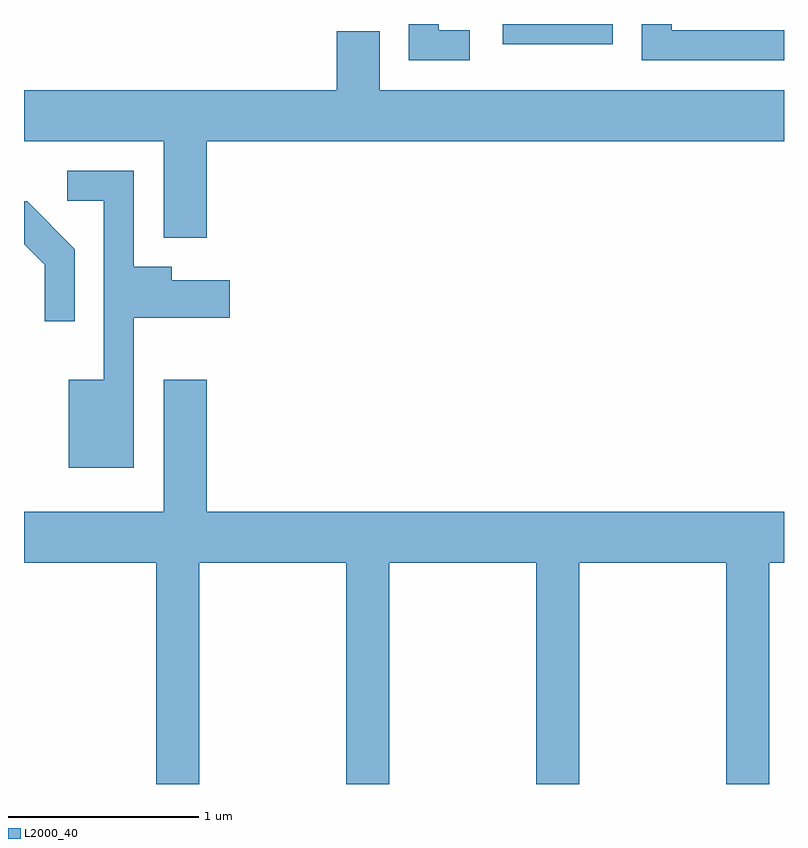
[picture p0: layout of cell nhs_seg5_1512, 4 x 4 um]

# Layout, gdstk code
import gdstk
lib = gdstk.Library(unit=1e-6, precision=1e-09)
def R(c, l, rs):  # rectangles x0, y0, x1, y1
    for r in rs: c.add(gdstk.rectangle(r[:2], r[2:], *l))
def P(c, l, *ps):  # polygons
    for p in ps: c.add(gdstk.Polygon(p, *l))
L2000_40 = (2000, 40)

nhs_seg5_1512 = lib.new_cell('nhs_seg5_1512')
R(nhs_seg5_1512, L2000_40, [(232.131,1463.966,232.709,1464.072)])
P(nhs_seg5_1512, L2000_40, [(233.611,1464.039),(233.019,1464.039),(233.019,1464.072),(232.861,1464.072),(232.861,1463.881),(233.611,1463.881)],
  [(231.958,1464.039),(231.794,1464.039),(231.794,1464.072),(231.636,1464.072),(231.636,1463.881),(231.958,1463.881)],
  [(230.574,1463.456),(233.611,1463.456),(233.611,1463.724),(231.484,1463.724),(231.484,1464.034),(231.256,1464.034),(231.256,1463.724),(229.611,1463.724),(229.611,1463.456),(230.346,1463.456),(230.346,1462.946),(230.574,1462.946)],
  [(230.189,1462.526),(230.694,1462.526),(230.694,1462.724),(230.389,1462.724),(230.389,1462.794),(230.189,1462.794),(230.189,1463.299),(229.838,1463.299),(229.838,1463.141),(230.031,1463.141),(230.031,1462.199),(229.846,1462.199),(229.846,1461.736),(230.189,1461.736)],
  [(229.879,1462.887),(229.627,1463.139),(229.611,1463.139),(229.611,1462.914),(229.721,1462.804),(229.721,1462.508),(229.879,1462.508)],
  [(230.534,1461.236),(231.306,1461.236),(231.306,1460.072),(231.534,1460.072),(231.534,1461.236),(232.306,1461.236),(232.306,1460.072),(232.534,1460.072),(232.534,1461.236),(233.306,1461.236),(233.306,1460.072),(233.534,1460.072),(233.534,1461.236),(233.611,1461.236),(233.611,1461.504),(230.574,1461.504),(230.574,1462.199),(230.346,1462.199),(230.346,1461.504),(229.611,1461.504),(229.611,1461.236),(230.306,1461.236),(230.306,1460.072),(230.534,1460.072)])

lib.write_gds('nhs_seg5_1512.gds')
